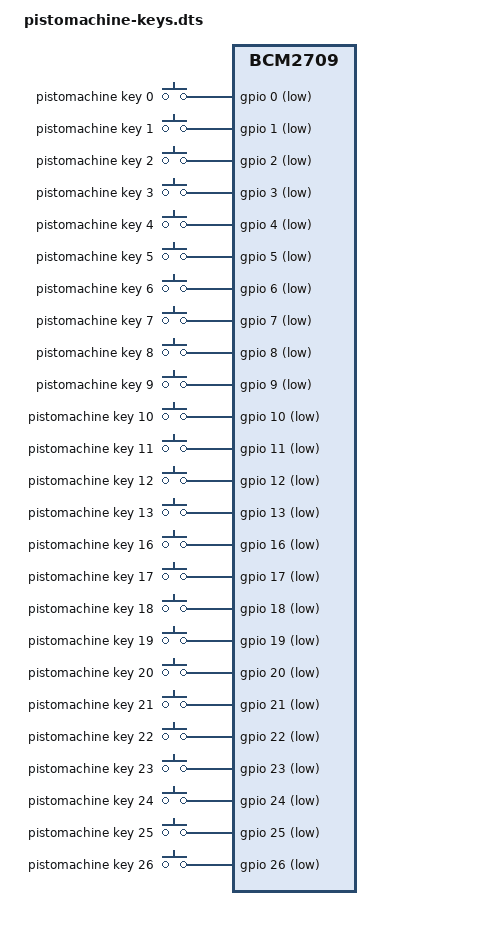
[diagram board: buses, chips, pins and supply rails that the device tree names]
/dts-v1/;
/plugin/;

/ {
    compatible = "brcm,bcm2835", "brcm,bcm2708", "brcm,bcm2709";

    fragment@0 {
        target = <&gpio>;
        __overlay__ {
            pistomachine_pin: pistomachine_pin {
                brcm,pins = <0 1 2 3 4 5 6 7 8 9 10 11 12 13 16 17 18 19 20 21 22 23 24 25 26>; 
                brcm,function = <0>;
                brcm,pull = <2>;
            };
        };
    };

    fragment@1 {
    target-path = "/soc";
        __overlay__ {
            pistomachine: pistomachine {
                compatible = "gpio-keys";
                #address-cells = <1>;
                #size-cells = <0>;
                pinctrl-names = "default";
                pinctrl-0 = <&pistomachine_pin>;
                status = "okay";

                button@0 {
                    label = "pistomachine key 0";
                    linux,code = <100>;
                    gpios = <&gpio 0 1>;
                };
                button@1 {
                    label = "pistomachine key 1";
                    linux,code = <1>;
                    gpios = <&gpio 1 1>;
                };
                button@2 {
                    label = "pistomachine key 2";
                    linux,code = <2>;
                    gpios = <&gpio 2 1>;
                };
                button@3 {
                    label = "pistomachine key 3";
                    linux,code = <3>;
                    gpios = <&gpio 3 1>;
                };
                button@4 {
                    label = "pistomachine key 4";
                    linux,code = <4>;
                    gpios = <&gpio 4 1>;
                };
                button@5 {
                    label = "pistomachine key 5";
                    linux,code = <5>;
                    gpios = <&gpio 5 1>;
                };
                button@6 {
                    label = "pistomachine key 6";
                    linux,code = <6>;
                    gpios = <&gpio 6 1>;
                };
                button@7 {
                    label = "pistomachine key 7";
                    linux,code = <7>;
                    gpios = <&gpio 7 1>;
                };
                button@8 {
                    label = "pistomachine key 8";
                    linux,code = <8>;
                    gpios = <&gpio 8 1>;
                };
                button@9 {
                    label = "pistomachine key 9";
                    linux,code = <9>;
                    gpios = <&gpio 9 1>;
                };
                button@10 {
                    label = "pistomachine key 10";
                    linux,code = <10>;
                    gpios = <&gpio 10 1>;
                };
                button@11 {
                    label = "pistomachine key 11";
                    linux,code = <11>;
                    gpios = <&gpio 11 1>;
                };
                button@12 {
                    label = "pistomachine key 12";
                    linux,code = <12>;
                    gpios = <&gpio 12 1>;
                };
                button@13 {
                    label = "pistomachine key 13";
                    linux,code = <13>;
                    gpios = <&gpio 13 1>;
                };
                button@16 {
                    label = "pistomachine key 16";
                    linux,code = <16>;
                    gpios = <&gpio 16 1>;
                };
                button@17 {
                    label = "pistomachine key 17";
                    linux,code = <17>;
                    gpios = <&gpio 17 1>;
                };
                button@18 {
                    label = "pistomachine key 18";
                    linux,code = <18>;
                    gpios = <&gpio 18 1>;
                };
                button@19 {
                    label = "pistomachine key 19";
                    linux,code = <19>;
                    gpios = <&gpio 19 1>;
                };
                button@20 {
                    label = "pistomachine key 20";
                    linux,code = <20>;
                    gpios = <&gpio 20 1>;
                };
                button@21 {
                    label = "pistomachine key 21";
                    linux,code = <21>;
                    gpios = <&gpio 21 1>;
                };
                button@22 {
                    label = "pistomachine key 22";
                    linux,code = <22>;
                    gpios = <&gpio 22 1>;
                };
                button@23 {
                    label = "pistomachine key 23";
                    linux,code = <23>;
                    gpios = <&gpio 23 1>;
                };
                button@24 {
                    label = "pistomachine key 24";
                    linux,code = <24>;
                    gpios = <&gpio 24 1>;
                };
                button@25 {
                    label = "pistomachine key 25";
                    linux,code = <25>;
                    gpios = <&gpio 25 1>;
                };
                button@26 {
                    label = "pistomachine key 26";
                    linux,code = <26>;
                    gpios = <&gpio 26 1>;
                };

            };
        };
    };
};

